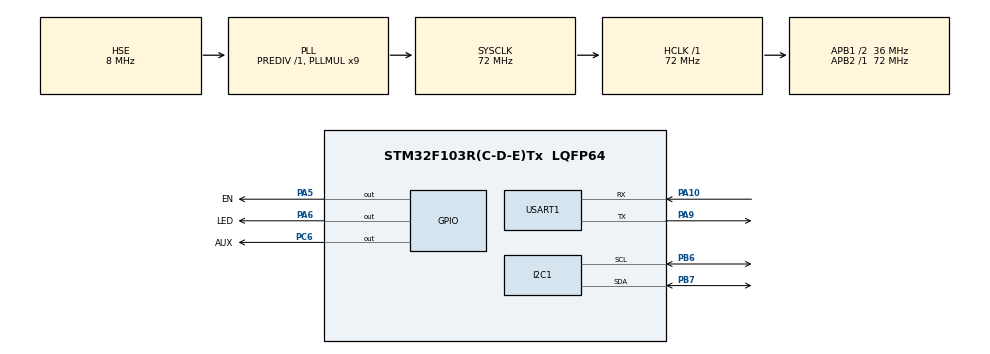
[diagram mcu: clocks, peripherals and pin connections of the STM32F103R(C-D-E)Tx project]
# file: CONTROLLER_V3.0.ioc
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Mcu.Family=STM32F1
Mcu.Name=STM32F103R(C-D-E)Tx
Mcu.Package=LQFP64
NVIC.PriorityGroup=NVIC_PRIORITYGROUP_4
NVIC.TIM2_IRQn=true\:1\:0\:true\:false\:true\:true\:true\:true
NVIC.USART1_IRQn=true\:2\:0\:true\:false\:true\:true\:true\:true
PA10.Mode=Asynchronous
PA10.Signal=USART1_RX
PA13.Mode=Serial_Wire
PA13.Signal=SYS_JTMS-SWDIO
PA14.Mode=Serial_Wire
PA14.Signal=SYS_JTCK-SWCLK
PA5.GPIO_Label=EN
PA5.Signal=GPIO_Output
PA6.GPIO_Label=LED
PA6.Signal=GPIO_Output
PA9.Mode=Asynchronous
PA9.Signal=USART1_TX
PB6.Mode=I2C
PB6.Signal=I2C1_SCL
PB7.Mode=I2C
PB7.Signal=I2C1_SDA
PC6.GPIO_Label=AUX
PC6.Signal=GPIO_Output
PD0-OSC_IN.Mode=HSE-External-Oscillator
PD0-OSC_IN.Signal=RCC_OSC_IN
PD1-OSC_OUT.Mode=HSE-External-Oscillator
PD1-OSC_OUT.Signal=RCC_OSC_OUT
ProjectManager.HeapSize=0x200
ProjectManager.StackSize=0x400
ProjectManager.TargetToolchain=MDK-ARM V5.32
RCC.AHBFreq_Value=72000000
RCC.APB1CLKDivider=RCC_HCLK_DIV2
RCC.APB1Freq_Value=36000000
RCC.APB1TimFreq_Value=72000000
RCC.APB2Freq_Value=72000000
RCC.APB2TimFreq_Value=72000000
RCC.HCLKFreq_Value=72000000
RCC.PLLMUL=RCC_PLL_MUL9
RCC.PLLSourceVirtual=RCC_PLLSOURCE_HSE
RCC.SYSCLKFreq_VALUE=72000000
RCC.SYSCLKSource=RCC_SYSCLKSOURCE_PLLCLK
RCC.USBFreq_Value=72000000
TIM2.AutoReloadPreload=TIM_AUTORELOAD_PRELOAD_ENABLE
TIM2.Period=999
TIM2.Prescaler=71
USART1.VirtualMode=VM_ASYNC
VP_TIM2_VS_ClockSourceINT.Mode=Internal
board=custom

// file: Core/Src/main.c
/* USER CODE BEGIN Header */
/**
  ******************************************************************************
  * @file           : main.c
  * @brief          : Main program body
  ******************************************************************************
  * @attention
  *
  * Copyright (c) 2024 STMicroelectronics.
  * All rights reserved.
  *
  * This software is licensed under terms that can be found in the LICENSE file
  * in the root directory of this software component.
  * If no LICENSE file comes with this software, it is provided AS-IS.
  *
  ******************************************************************************
  */
/* USER CODE END Header */
#include "main.h"
#include "uart.h"
#include "response_ci.h"
#include "i2c.h"
#include "cli_command.h"
#include "bh1750.h"
//#include "data_frame.h"
//#include "flash.h"

I2C_HandleTypeDef hi2c1;

TIM_HandleTypeDef htim2;

UART_HandleTypeDef huart1;

void SystemClock_Config(void);
static void MX_GPIO_Init(void);
static void MX_USART1_UART_Init(void);
static void MX_TIM2_Init(void);
static void MX_I2C1_Init(void);

/* USER CODE BEGIN 0 */
//channel_typedef c = {
//	.channel_index = 0xFF,
//	.max_curr_prov = 0xFFFF,
//	.max_curr_can_take = 0xFFFF,
//	.channel_current = 0xFFFF
//};

//device_typedef d = {
//	.hardware_ver = 0xFFFF,
//	.firmware_ver = 0xFFFF,
//	.number_of_channel = 0xFF,
//};
static uint8_t rx_data;  // variable that is received 1 byte from uart
extern uint8_t flag;  // flag indicates the end of uart message
uint8_t counter = 0;  // if counter is 100, timer is stop and uart transmition ends
BH1750_device_t* test_dev;

// UART interrupt
void HAL_UART_RxCpltCallback(UART_HandleTypeDef *huart)
{
	if(huart->Instance == huart1.Instance)
	{
		HAL_UART_Receive_IT(&huart1, &rx_data, 1);
		receive_data(rx_data);
	}
}

// Timer interrupt
void HAL_TIM_PeriodElapsedCallback(TIM_HandleTypeDef *htim)
{
	UNUSED(htim);
	if(htim->Instance == htim2.Instance)
	{
		// cycle of timer is 1000 and when timer interrupts, counter is incremented by 1
		counter++;
		// if counter is 100, timer stops and flag is 1 then uart transmition ends
		if(counter == 100)
		{
			 flag = 1;
			 counter = 0;
			 HAL_TIM_Base_Stop_IT(&htim2);
		}

	}
}
/* USER CODE END 0 */

int main(void)
{

  /* MCU Configuration--------------------------------------------------------*/

  /* Reset of all peripherals, Initializes the Flash interface and the Systick. */
  HAL_Init();

  /* Configure the system clock */
  SystemClock_Config();

  /* Initialize all configured peripherals */
  MX_GPIO_Init();
  MX_USART1_UART_Init();
  MX_TIM2_Init();
  MX_I2C1_Init();
  /* USER CODE BEGIN 2 */

	// initialize huart for responsing
	response_init(&huart1);
	// i2c configuration
	config_i2c(&hi2c1);
//	HAL_TIM_Base_Start_IT(&htim2);
//	HAL_TIM_Base_Stop_IT(&htim2);
	test_dev = BH1750_init_dev_struct(&hi2c1, "test device", true);
  BH1750_init_dev(test_dev);
	// Turn on the indicator light
	HAL_GPIO_WritePin(LED_GPIO_Port, LED_Pin, GPIO_PIN_SET);
	// initialize driver circuit
	driver_init();
	// initialize information of device
	initialize_device();
	HAL_UART_Receive_IT(&huart1, &rx_data, 1);
	//erase_device();
	//flash_read_arr(0x800A000,(uint8_t*)&a, sizeof(a));
//	for(int i = 0; i < 8; i++)
//	{
//		d.channel[i] = c;
//	}
//	//memset(d.serial_number, 4, 6);
//	for(int i = 0; i < 50; i++)
//	{
//		d.serial_number[i] = 0xFF;
//	}
//	flash_unlock();
//	flash_erease(0x800A000);
//	flash_write_arr(0x800A000, (uint8_t*)&d, sizeof(d));
//	flash_lock();
  /* USER CODE END 2 */

  /* Infinite loop */
  while (1)
  {

    /* USER CODE BEGIN 3 */
		uart_handle();
  }
  /* USER CODE END 3 */
}

void SystemClock_Config(void)
{
  RCC_OscInitTypeDef RCC_OscInitStruct = {0};
  RCC_ClkInitTypeDef RCC_ClkInitStruct = {0};

  /** Initializes the RCC Oscillators according to the specified parameters
  * in the RCC_OscInitTypeDef structure.
  */
  RCC_OscInitStruct.OscillatorType = RCC_OSCILLATORTYPE_HSE;
  RCC_OscInitStruct.HSEState = RCC_HSE_ON;
  RCC_OscInitStruct.HSEPredivValue = RCC_HSE_PREDIV_DIV1;
  RCC_OscInitStruct.HSIState = RCC_HSI_ON;
  RCC_OscInitStruct.PLL.PLLState = RCC_PLL_ON;
  RCC_OscInitStruct.PLL.PLLSource = RCC_PLLSOURCE_HSE;
  RCC_OscInitStruct.PLL.PLLMUL = RCC_PLL_MUL9;
  if (HAL_RCC_OscConfig(&RCC_OscInitStruct) != HAL_OK)
  {
    Error_Handler();
  }

  /** Initializes the CPU, AHB and APB buses clocks
  */
  RCC_ClkInitStruct.ClockType = RCC_CLOCKTYPE_HCLK|RCC_CLOCKTYPE_SYSCLK
                              |RCC_CLOCKTYPE_PCLK1|RCC_CLOCKTYPE_PCLK2;
  RCC_ClkInitStruct.SYSCLKSource = RCC_SYSCLKSOURCE_PLLCLK;
  RCC_ClkInitStruct.AHBCLKDivider = RCC_SYSCLK_DIV1;
  RCC_ClkInitStruct.APB1CLKDivider = RCC_HCLK_DIV2;
  RCC_ClkInitStruct.APB2CLKDivider = RCC_HCLK_DIV1;

  if (HAL_RCC_ClockConfig(&RCC_ClkInitStruct, FLASH_LATENCY_2) != HAL_OK)
  {
    Error_Handler();
  }
}

static void MX_I2C1_Init(void)
{

  hi2c1.Instance = I2C1;
  hi2c1.Init.ClockSpeed = 100000;
  hi2c1.Init.DutyCycle = I2C_DUTYCYCLE_2;
  hi2c1.Init.OwnAddress1 = 0;
  hi2c1.Init.AddressingMode = I2C_ADDRESSINGMODE_7BIT;
  hi2c1.Init.DualAddressMode = I2C_DUALADDRESS_DISABLE;
  hi2c1.Init.OwnAddress2 = 0;
  hi2c1.Init.GeneralCallMode = I2C_GENERALCALL_DISABLE;
  hi2c1.Init.NoStretchMode = I2C_NOSTRETCH_DISABLE;
  if (HAL_I2C_Init(&hi2c1) != HAL_OK)
  {
    Error_Handler();
  }

}

static void MX_TIM2_Init(void)
{

  TIM_ClockConfigTypeDef sClockSourceConfig = {0};
  TIM_MasterConfigTypeDef sMasterConfig = {0};

  htim2.Instance = TIM2;
  htim2.Init.Prescaler = 71;
  htim2.Init.CounterMode = TIM_COUNTERMODE_UP;
  htim2.Init.Period = 999;
  htim2.Init.ClockDivision = TIM_CLOCKDIVISION_DIV1;
  htim2.Init.AutoReloadPreload = TIM_AUTORELOAD_PRELOAD_ENABLE;
  if (HAL_TIM_Base_Init(&htim2) != HAL_OK)
  {
    Error_Handler();
  }
  sClockSourceConfig.ClockSource = TIM_CLOCKSOURCE_INTERNAL;
  if (HAL_TIM_ConfigClockSource(&htim2, &sClockSourceConfig) != HAL_OK)
  {
    Error_Handler();
  }
  sMasterConfig.MasterOutputTrigger = TIM_TRGO_RESET;
  sMasterConfig.MasterSlaveMode = TIM_MASTERSLAVEMODE_DISABLE;
  if (HAL_TIMEx_MasterConfigSynchronization(&htim2, &sMasterConfig) != HAL_OK)
  {
    Error_Handler();
  }

}

static void MX_USART1_UART_Init(void)
{

  huart1.Instance = USART1;
  huart1.Init.BaudRate = 115200;
  huart1.Init.WordLength = UART_WORDLENGTH_8B;
  huart1.Init.StopBits = UART_STOPBITS_1;
  huart1.Init.Parity = UART_PARITY_NONE;
  huart1.Init.Mode = UART_MODE_TX_RX;
  huart1.Init.HwFlowCtl = UART_HWCONTROL_NONE;
  huart1.Init.OverSampling = UART_OVERSAMPLING_16;
  if (HAL_UART_Init(&huart1) != HAL_OK)
  {
    Error_Handler();
  }

}

static void MX_GPIO_Init(void)
{
  GPIO_InitTypeDef GPIO_InitStruct = {0};

  /* GPIO Ports Clock Enable */
  __HAL_RCC_GPIOD_CLK_ENABLE();
  __HAL_RCC_GPIOA_CLK_ENABLE();
  __HAL_RCC_GPIOC_CLK_ENABLE();
  __HAL_RCC_GPIOB_CLK_ENABLE();

  /*Configure GPIO pin Output Level */
  HAL_GPIO_WritePin(GPIOA, EN_Pin|LED_Pin, GPIO_PIN_RESET);

  /*Configure GPIO pin Output Level */
  HAL_GPIO_WritePin(AUX_GPIO_Port, AUX_Pin, GPIO_PIN_RESET);

  /*Configure GPIO pins : EN_Pin LED_Pin */
  GPIO_InitStruct.Pin = EN_Pin|LED_Pin;
  GPIO_InitStruct.Mode = GPIO_MODE_OUTPUT_PP;
  GPIO_InitStruct.Pull = GPIO_NOPULL;
  GPIO_InitStruct.Speed = GPIO_SPEED_FREQ_LOW;
  HAL_GPIO_Init(GPIOA, &GPIO_InitStruct);

  /*Configure GPIO pin : AUX_Pin */
  GPIO_InitStruct.Pin = AUX_Pin;
  GPIO_InitStruct.Mode = GPIO_MODE_OUTPUT_PP;
  GPIO_InitStruct.Pull = GPIO_NOPULL;
  GPIO_InitStruct.Speed = GPIO_SPEED_FREQ_LOW;
  HAL_GPIO_Init(AUX_GPIO_Port, &GPIO_InitStruct);

}

void Error_Handler(void)
{
  __disable_irq();
  while (1)
  {
  }
}
